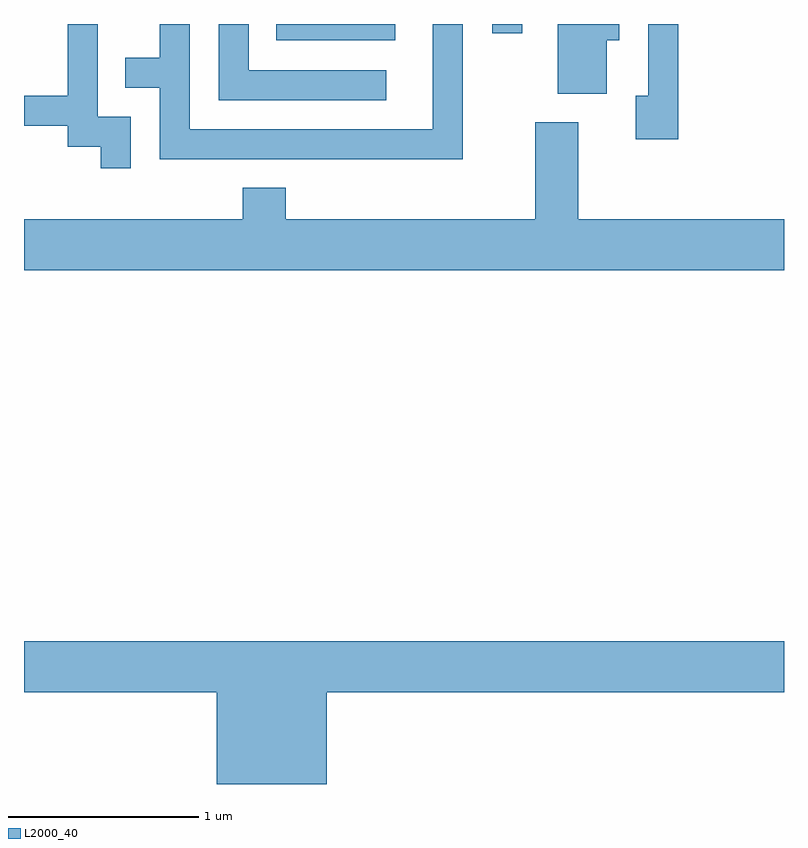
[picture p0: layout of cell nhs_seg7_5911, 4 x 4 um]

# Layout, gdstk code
import gdstk
lib = gdstk.Library(unit=1e-6, precision=1e-09)
def R(c, l, rs):  # rectangles x0, y0, x1, y1
    for r in rs: c.add(gdstk.rectangle(r[:2], r[2:], *l))
def P(c, l, *ps):  # polygons
    for p in ps: c.add(gdstk.Polygon(p, *l))
L2000_40 = (2000, 40)

nhs_seg7_5911 = lib.new_cell('nhs_seg7_5911')
R(nhs_seg7_5911, L2000_40, [(366.938,1742.166,367.564,1742.252), (368.076,1742.203,368.234,1742.252)])
P(nhs_seg7_5911, L2000_40, [(369.054,1742.252),(368.896,1742.252),(368.896,1741.874),(368.831,1741.874),(368.831,1741.646),(369.054,1741.646)],
  [(367.919,1742.252),(367.761,1742.252),(367.761,1741.699),(366.484,1741.699),(366.484,1742.252),(366.326,1742.252),(366.326,1742.074),(366.143,1742.074),(366.143,1741.916),(366.326,1741.916),(366.326,1741.541),(367.919,1741.541)],
  [(367.518,1742.009),(366.794,1742.009),(366.794,1742.252),(366.636,1742.252),(366.636,1741.851),(367.518,1741.851)],
  [(366.174,1741.764),(365.999,1741.764),(365.999,1742.252),(365.841,1742.252),(365.841,1741.874),(365.611,1741.874),(365.611,1741.716),(365.841,1741.716),(365.841,1741.606),(366.016,1741.606),(366.016,1741.493),(366.174,1741.493)],
  [(368.679,1742.166),(368.744,1742.166),(368.744,1742.252),(368.421,1742.252),(368.421,1741.886),(368.679,1741.886)],
  [(369.611,1741.224),(368.529,1741.224),(368.529,1741.734),(368.301,1741.734),(368.301,1741.224),(366.989,1741.224),(366.989,1741.389),(366.761,1741.389),(366.761,1741.224),(365.611,1741.224),(365.611,1740.956),(369.611,1740.956)],
  [(367.204,1738.736),(369.611,1738.736),(369.611,1739.004),(365.611,1739.004),(365.611,1738.736),(366.626,1738.736),(366.626,1738.252),(367.204,1738.252)])

lib.write_gds('nhs_seg7_5911.gds')
